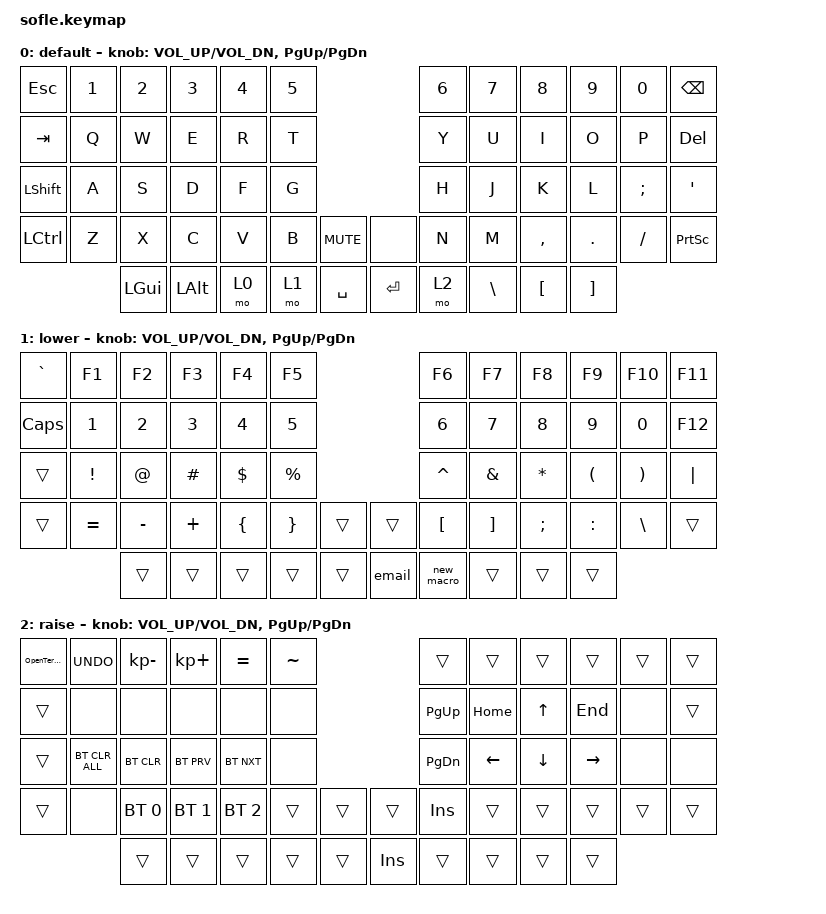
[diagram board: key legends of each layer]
/*
 * Copyright (c) 2020 The ZMK Contributors
 *
 * SPDX-License-Identifier: MIT
 */

#include <behaviors.dtsi>
#include <dt-bindings/zmk/bt.h>
#include <dt-bindings/zmk/keys.h>

#define BASE 0
#define LOWER 1
#define RAISE 2
#define ADJUST 3

/ {
    // Activate ADJUST layer by pressing raise and lower

    conditional_layers {
        compatible = "zmk,conditional-layers";

        adjust_layer {
            if-layers = <1 2>;
            then-layer = <3>;
        };
    };

    combos {
        compatible = "zmk,combos";

        AudioOptions {
            bindings = <&kp LC(LG(V))>;
            key-positions = <43>;
        };
    };

    macros {
        new_macro: new_macro {
            compatible = "zmk,behavior-macro";
            #binding-cells = <0>;
            bindings =
                <&kp LS(R) &kp N2 &kp N1 &kp N8 &kp N6 &kp N4 &kp N4 &kp N9 &kp N8 &kp N9 &kp N7 &kp N1 &kp N7 &kp M &kp DLLR &kp AT &kp EXCL>,
                <&macro_press>;

            label = "NEW_MACRO";
        };

        email: email {
            compatible = "zmk,behavior-macro";
            #binding-cells = <0>;
            bindings = <&kp R &kp O &kp N &kp E &kp I &kp M &kp A &kp R &kp T &kp I &kp N &kp S &kp N1 &kp AT &kp G &kp M &kp A &kp I &kp L &kp DOT &kp C &kp O &kp M>;
            label = "EMAIL";
        };

        OpenTerminal: OpenTerminal {
            compatible = "zmk,behavior-macro";
            #binding-cells = <0>;
            bindings = <&kp LS(GRAVE)>;
            label = "OPENTERMINAL";
        };
    };

    keymap {
        compatible = "zmk,keymap";

        default_layer {
            display-name = "default";

            // ------------------------------------------------------------------------------------------------------------
            // |   `   |  1  |  2  |  3   |  4   |  5   |                   |  6   |  7    |  8    |  9   |   0   |       |
            // |  ESC  |  Q  |  W  |  E   |  R   |  T   |                   |  Y   |  U    |  I    |  O   |   P   | BKSPC |
            // |  TAB  |  A  |  S  |  D   |  F   |  G   |                   |  H   |  J    |  K    |  L   |   ;   |   '   |
            // | SHIFT |  Z  |  X  |  C   |  V   |  B   |  MUTE  |  |       |  N   |  M    |  ,    |  .   |   /   | SHIFT |
            //               | GUI | ALT  | CTRL | LOWER|  ENTER |  | SPACE | RAISE| CTRL  | ALT   | GUI  |

            bindings = <
&kp ESCAPE        &kp N1  &kp N2    &kp N3    &kp N4  &kp N5                           &kp N6  &kp N7         &kp N8            &kp N9             &kp N0    &kp BACKSPACE
&kp TAB           &kp Q   &kp W     &kp E     &kp R   &kp T                            &kp Y   &kp U          &kp I             &kp O              &kp P     &kp DEL
&kp LSHIFT        &kp A   &kp S     &kp D     &kp F   &kp G                            &kp H   &kp J          &kp K             &kp L              &kp SEMI  &kp SQT
&kp LEFT_CONTROL  &kp Z   &kp X     &kp C     &kp V   &kp B   &kp C_MUTE    &none      &kp N   &kp M          &kp COMMA         &kp DOT            &kp FSLH  &kp PRINTSCREEN
                          &kp LGUI  &kp LALT  &mo 0   &mo 1   &kp SPACE     &kp ENTER  &mo 2   &kp BACKSLASH  &kp LEFT_BRACKET  &kp RIGHT_BRACKET
            >;

            sensor-bindings =
                <&inc_dec_kp C_VOL_UP C_VOL_DN>,
                <&inc_dec_kp PG_UP PG_DN>;
        };

        lower_layer {
            display-name = "lower";

            // TODO: Some binds are waiting for shifted keycode support.
            // ------------------------------------------------------------------------------------------------------------
            // |       |  F1 |  F2 |  F3  |  F4  |  F5  |                   |  F6  |  F7   |  F8   |  F9  |  F10  |  F11  |
            // |   `   |  1  |  2  |  3   |  4   |  5   |                   |  6   |  7    |  8    |  9   |   0   |  F12  |
            // |       |  !  |  @  |  #   |  $   |  %   |                   |  ^   |  &    |  *    |  (   |   )   |   |   |
            // |       |  =  |  -  |  +   |  {   |  }   |        |  |       |  [   |  ]    |  ;    |  :   |   \   |       |
            //               |     |      |      |      |        |  |       |      |       |       |      |

            bindings = <
&kp GRAVE     &kp F1     &kp F2     &kp F3    &kp F4    &kp F5                       &kp F6      &kp F7    &kp F8     &kp F9     &kp F10   &kp F11
&kp CAPSLOCK  &kp N1     &kp N2     &kp N3    &kp N4    &kp N5                       &kp N6      &kp N7    &kp N8     &kp N9     &kp N0    &kp F12
&trans        &kp EXCL   &kp AT     &kp HASH  &kp DLLR  &kp PRCNT                    &kp CARET   &kp AMPS  &kp ASTRK  &kp LPAR   &kp RPAR  &kp PIPE
&trans        &kp EQUAL  &kp MINUS  &kp PLUS  &kp LBRC  &kp RBRC   &trans    &trans  &kp LBKT    &kp RBKT  &kp SEMI   &kp COLON  &kp BSLH  &trans
                         &trans     &trans    &trans    &trans     &trans    &email  &new_macro  &trans    &trans     &trans
            >;

            sensor-bindings = <&inc_dec_kp C_VOL_UP C_VOL_DN &inc_dec_kp PG_UP PG_DN>;
        };

        raise_layer {
            display-name = "raise";

            // ------------------------------------------------------------------------------------------------------------
            // | BTCLR | BT1  | BT2  |  BT3  |  BT4  |  BT5 |                |      |      |       |      |       |       |
            // |       | INS  | PSCR | GUI   |       |      |                | PGUP |      |   ^   |      |       |       |
            // |       | ALT  | CTRL | SHIFT |       | CAPS |                | PGDN |   <- |   v   |  ->  |  DEL  | BKSPC |
            // |       | UNDO | CUT  | COPY  | PASTE |      |      |  |      |      |      |       |      |       |       |
            //                |      |       |       |      |      |  |      |      |      |       |      |

            bindings = <
&OpenTerminal  &kp K_UNDO      &kp KP_MINUS  &kp KP_PLUS   &kp EQUAL     &kp TILDE                     &trans     &trans    &trans    &trans     &trans  &trans
&trans         &none           &none         &none         &none         &none                         &kp PG_UP  &kp HOME  &kp UP    &kp END    &none   &trans
&trans         &bt BT_CLR_ALL  &bt BT_CLR    &bt BT_PRV    &bt BT_NXT    &none                         &kp PG_DN  &kp LEFT  &kp DOWN  &kp RIGHT  &none   &none
&trans         &none           &bt BT_SEL 0  &bt BT_SEL 1  &bt BT_SEL 2  &trans     &trans    &trans   &kp INS    &trans    &trans    &trans     &trans  &trans
                               &trans        &trans        &trans        &trans     &trans    &kp INS  &trans     &trans    &trans    &trans
            >;

            sensor-bindings = <&inc_dec_kp C_VOL_UP C_VOL_DN &inc_dec_kp PG_UP PG_DN>;
        };
    };
};
